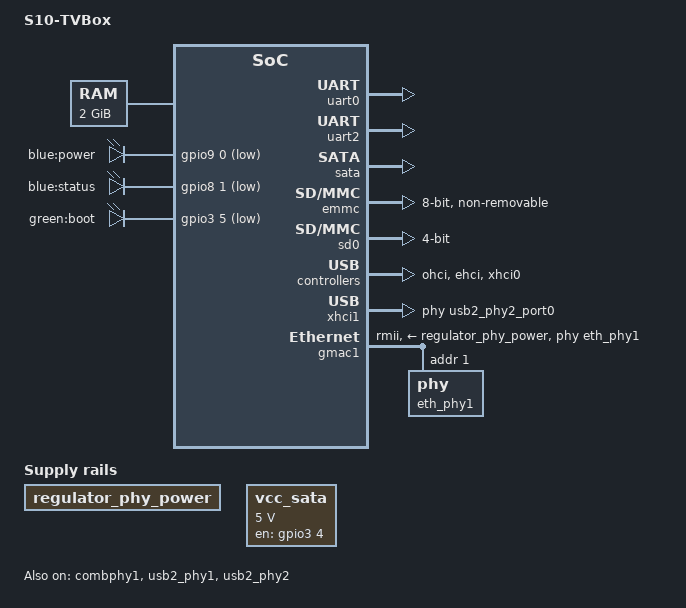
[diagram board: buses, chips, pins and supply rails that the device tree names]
/dts-v1/;

#include <dt-bindings/gpio/gpio.h>
#include "hi3798cv200.dtsi"
#include "poplar-pinctrl.dtsi"

/ {
	model = "S10-TVBox";
	compatible = "hisilicon,hi3798cv200";

	aliases {
		serial0 = &uart0;
		serial2 = &uart2;
		sata0 = &sata;
	};

	chosen {
		stdout-path = "serial0:115200n8";
	};

	memory@0 {
		device_type = "memory";
		reg = <0x0 0x0 0x0 0x80000000>; /* 2GB RAM */
	};

	leds {
		compatible = "gpio-leds";

		system_ready {
			label = "blue:power";
			gpios = <&gpio9 0 GPIO_ACTIVE_LOW>;
			default-state = "on";
		};

		ir_feedback {
			label = "blue:status";
			gpios = <&gpio8 1 GPIO_ACTIVE_LOW>;
			linux,default-trigger = "rc-feedback";
		};

		boot_indicator {
			label = "green:boot";
			gpios = <&gpio3 5 GPIO_ACTIVE_LOW>;
			default-state = "on";
		};
	};

	/* PHY 电源 (常开，纯使能无 GPIO) : gmac1 的 phy-supply */
	regulator_phy_power: regulator-phy-power {
		compatible = "regulator-fixed";
		regulator-name = "PHY_PWR";
		enable-active-high;
		regulator-always-on;
	};

	/* 定义 SATA 硬盘电源 */
	vcc_sata: regulator-vcc-sata {
		compatible = "regulator-fixed";
		regulator-name = "vcc-sata";
		gpio = <&gpio3 4 GPIO_ACTIVE_HIGH>; /* 实测全局 GPIO500 有效 */
		regulator-min-microvolt = <5000000>;
		regulator-max-microvolt = <5000000>;
		enable-active-high;
		regulator-always-on;
	};
};

&uart0 {
	status = "okay";
};

&uart2 {
	status = "okay";
};

/* SATA 配置 */
&sata {
	status = "okay";
	target-supply = <&vcc_sata>;
};

&combphy1 {
	status = "okay";
	assigned-clocks = <&crg 80>;
	assigned-clock-parents = <&crg 66>;
	assigned-clock-rates = <25000000>;
	sata-controller = <&sata>;
};

/* eMMC 配置 */
&emmc {
	status = "okay";
	num-slots = <1>;
	fifo-depth = <256>;
	clock-frequency = <200000000>;
	cap-mmc-highspeed;
	mmc-ddr-1_8v;
	mmc-hs200-1_8v;
	non-removable;
	bus-width = <8>;
};

/* SD卡配置 */
&sd0 {
	status = "okay";
	bus-width = <4>;
	cap-sd-highspeed;
};

/* USB 全开: USB2 (ohci/ehci) + USB3 xhci0 + 板载 USB WiFi 专用 xhci@98b0000 */
&usb2_phy1 {
	status = "okay";
};

&usb2_phy2 {
	status = "okay";
};

&ohci {
	status = "okay";
};

&ehci {
	status = "okay";
};

&xhci0 {
	status = "okay";
};

/* 板载 USB WiFi (RTL88x2BU) 专用 xHCI 控制器, 只挂 usb2-phy@124 的 port0 */
&{/soc@f0000000/} {
	xhci1: xhci@98b0000 {
		compatible = "hisilicon,hi3798cv200-xhci";
		reg = <0x98b0000 0x10000>;
		interrupts = <GIC_SPI 85 IRQ_TYPE_LEVEL_HIGH>;
		clocks = <&crg HISTB_USB3_BUS_CLK1>,
			 <&crg HISTB_USB3_UTMI_CLK1>,
			 <&crg HISTB_USB3_PIPE_CLK1>,
			 <&crg HISTB_USB3_SUSPEND_CLK1>;
		clock-names = "bus", "utmi", "pipe", "suspend";
		resets = <&crg 0xb0 28>;
		reset-names = "soft";
		phys = <&usb2_phy2_port0>;
		phy-names = "usb2-phy";
		status = "okay";
	};
};

/* GPIO 扩展端口 (与运行中 dtb 一致) */
&gpio2 {
	status = "okay";
};

&gpio3 {
	status = "okay";
};

&gpio6 {
	status = "okay";
};

&gpio8 {
	status = "okay";
};

&gpio9 {
	status = "okay";
};

&gpio10 {
	status = "okay";
};

&gpio11 {
	status = "okay";
};

/* 网络配置 (RMII, PHY ID 1, MACIF 参考时钟 50MHz) */
&gmac1 {
	status = "okay";
	#address-cells = <1>;
	#size-cells = <0>;
	phy-handle = <&eth_phy1>;
	phy-mode = "rmii";
	phy-supply = <&regulator_phy_power>;
	assigned-clocks = <&crg HISTB_ETH1_MACIF_CLK>;
	assigned-clock-rates = <50000000>;
	hisilicon,phy-reset-delays-us = <30000 30000 50000>;

	eth_phy1: phy@1 {
		reg = <1>;
	};
};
